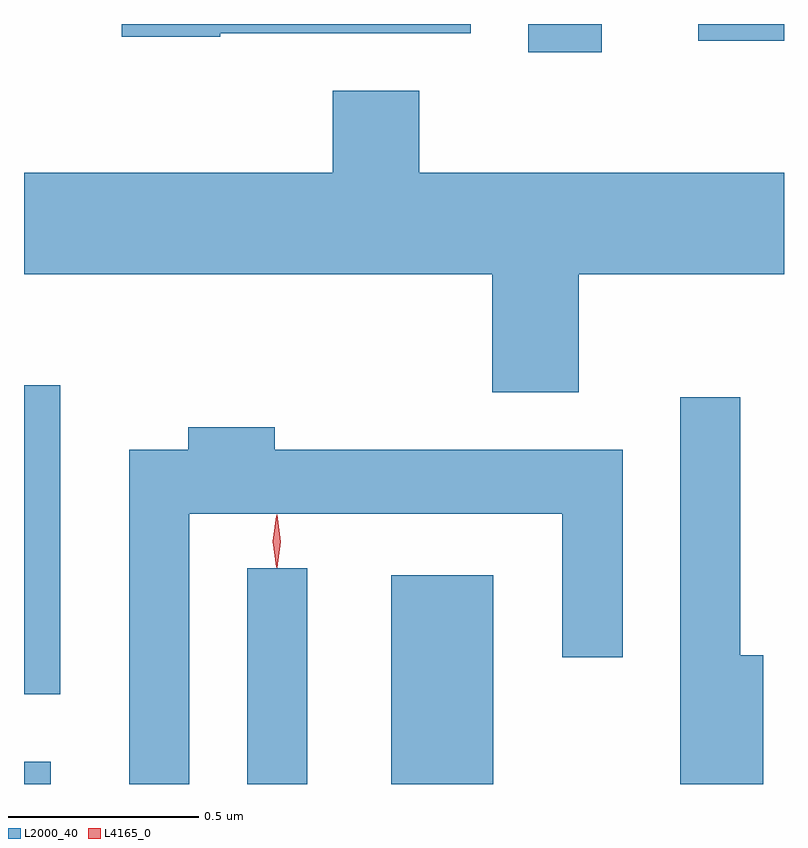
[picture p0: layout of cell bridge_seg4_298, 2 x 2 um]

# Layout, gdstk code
import gdstk
lib = gdstk.Library(unit=1e-6, precision=1e-09)
def R(c, l, rs):  # rectangles x0, y0, x1, y1
    for r in rs: c.add(gdstk.rectangle(r[:2], r[2:], *l))
def P(c, l, *ps):  # polygons
    for p in ps: c.add(gdstk.Polygon(p, *l))
L2000_40 = (2000, 40)
L4165_0 = (4165, 0)

bridge_seg4_298 = lib.new_cell('bridge_seg4_298')
R(bridge_seg4_298, L2000_40, [(521.019,1311.155,521.089,1311.214), (521.606,1311.155,521.764,1311.723), (521.986,1311.155,522.254,1311.704), (521.019,1311.391,521.114,1312.204), (522.346,1313.081,522.539,1313.155), (522.793,1313.111,523.019,1313.155)])
P(bridge_seg4_298, L2000_40, [(521.535,1313.131),(522.194,1313.131),(522.194,1313.155),(521.276,1313.155),(521.276,1313.121),(521.535,1313.121)],
  [(522.479,1312.496),(523.019,1312.496),(523.019,1312.764),(522.059,1312.764),(522.059,1312.979),(521.831,1312.979),(521.831,1312.764),(521.019,1312.764),(521.019,1312.496),(522.251,1312.496),(522.251,1312.186),(522.479,1312.186)],
  [(522.964,1311.494),(522.904,1311.494),(522.904,1312.173),(522.746,1312.173),(522.746,1311.155),(522.964,1311.155)],
  [(521.454,1311.866),(522.436,1311.866),(522.436,1311.488),(522.594,1311.488),(522.594,1312.034),(521.679,1312.034),(521.679,1312.094),(521.451,1312.094),(521.451,1312.034),(521.296,1312.034),(521.296,1311.155),(521.454,1311.155)])
P(bridge_seg4_298, L4165_0, [(521.684,1311.724),(521.684,1311.724),(521.674,1311.793),(521.684,1311.863),(521.684,1311.863),(521.685,1311.863),(521.694,1311.793),(521.685,1311.724)],
  [(521.683,1311.727),(521.673,1311.794),(521.683,1311.86),(521.683,1311.86),(521.684,1311.86),(521.693,1311.794),(521.684,1311.727),(521.684,1311.727)])

lib.write_gds('bridge_seg4_298.gds')
